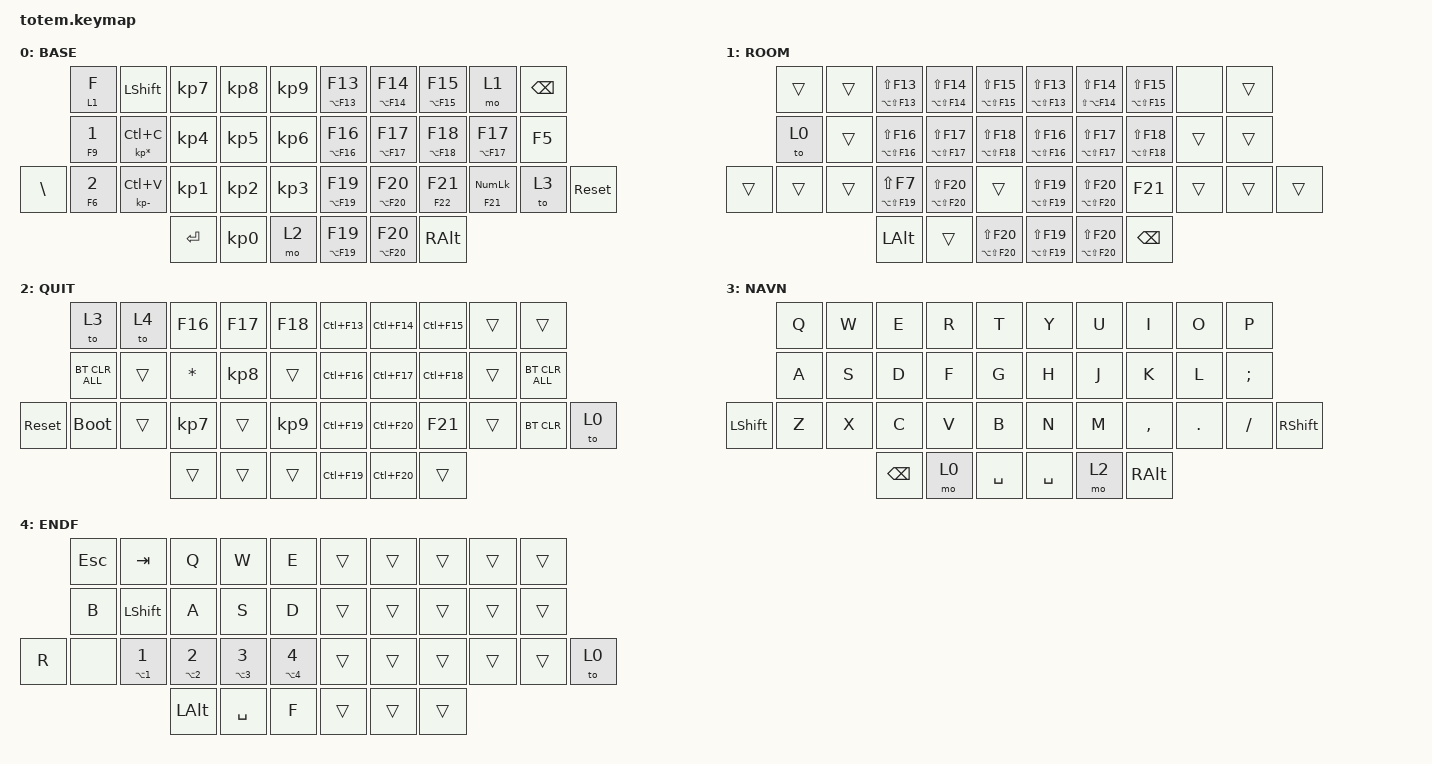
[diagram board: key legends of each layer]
/*
 * ZMK Keymap for Poker & Gaming
 * Layout: Combined Logic (Base, Room, Quit, Nav, Endfield)
 */

#include <behaviors.dtsi>
#include <dt-bindings/zmk/bt.h>
#include <dt-bindings/zmk/keys.h>

#define BASE 0
#define ROOM 1
#define QUIT 2
#define NAVN 3
#define ENDF 4

/ {
    // ==========================================
    // COMBOS (Poker Specific Shortcuts)
    // ==========================================

    combos {
        compatible = "zmk,combos";

        c_num1 {
            bindings = <&hob LA(F13) F13>;
            key-positions = <15 6>;
        };

        c_num3 {
            bindings = <&hob LA(F15) F15>;
            key-positions = <6 17>;
        };

        c_qtbet {
            bindings = <&kp KP_N7>;
            key-positions = <23 13>;
        };

        c_fullbet {
            bindings = <&kp KP_N9>;
            key-positions = <13 14>;
        };

        c_num8 {
            bindings = <&hob LA(F20) F20>;
            key-positions = <15 17>;
        };

        c_num7 {
            bindings = <&hob F21 F17>;
            key-positions = <18 15>;
        };

        c_num7mk2 {
            bindings = <&kp F21>;
            key-positions = <18 17>;
        };

        c_num5 {
            bindings = <&kp KP_N8>;
            key-positions = <23 22>;
        };

        LOH1 {
            bindings = <&hob F16 F13>;
            key-positions = <12 3>;
        };

        LOH2 {
            bindings = <&hob F18 F15>;
            key-positions = <3 14>;
        };
    };

    // ==========================================
    // BEHAVIORS (Custom Hold-Tap Actions)
    // ==========================================

    behaviors {
        hob: hob {
            compatible = "zmk,behavior-hold-tap";
            label = "HOLD_ON_BITCH";
            bindings = <&kp>, <&kp>;

            #binding-cells = <2>;
            tapping-term-ms = <300>;
            flavor = "tap-preferred";
        };

        lh: lh {
            compatible = "zmk,behavior-hold-tap";
            label = "LONG_HOLDING";
            bindings = <&kp>, <&kp>;

            #binding-cells = <2>;
            tapping-term-ms = <1000>;
            flavor = "tap-preferred";
            retro-tap;
        };

        lm: lm {
            compatible = "zmk,behavior-hold-tap";
            label = "LAYERMOVE";
            bindings = <&mo>, <&kp>;

            #binding-cells = <2>;
            tapping-term-ms = <250>;
            flavor = "tap-preferred";
        };
    };

    // ==========================================
    // KEYMAP LAYERS
    // ==========================================

    keymap {
        compatible = "zmk,keymap";

        // ------------------------------------------
        // LAYER 0: BASE (Poker Main)
        // ------------------------------------------
        //        ┏━━━━━━┳━━━━━━┳━━━━━━┳━━━━━━┳━━━━━━┓   ┏━━━━━━┳━━━━━━┳━━━━━━┳━━━━━━┳━━━━━━┓
        //        ┃F/W+D ┃ LSHFT┃ KP_7 ┃ KP_8 ┃ KP_9 ┃   ┃F13/Al┃F14/Al┃F15/Al┃moROOM┃ BSPC ┃
        //        ┣━━━━━━╋━━━━━━╋━━━━━━╋━━━━━━╋━━━━━━┫   ┣━━━━━━╋━━━━━━╋━━━━━━╋━━━━━━╋━━━━━━┫
        //        ┃1/W+D ┃C-COPY┃ KP_4 ┃ KP_5 ┃ KP_6 ┃   ┃F16/Al┃F17/Al┃F18/Al┃F17/Al┃ BT_2 ┃
        // ┏━━━━━━╋━━━━━━╋━━━━━━╋━━━━━━╋━━━━━━╋━━━━━━┫   ┣━━━━━━╋━━━━━━╋━━━━━━╋━━━━━━╋━━━━━━╋━━━━━━┓
        // ┃  \   ┃2/D+D ┃C-PAST┃ KP_1 ┃ KP_2 ┃ KP_3 ┃   ┃F19/Al┃F20/Al┃F21/22┃F21/NL┃toNAVN┃RESET ┃
        // ┗━━━━━━┻━━━━━━┻━━━━━━╋━━━━━━╋━━━━━━╋━━━━━━┫   ┣━━━━━━╋━━━━━━╋━━━━━━╋━━━━━━┻━━━━━━┻━━━━━━┛
        //                      ┃ENTER ┃0/DOT ┃moQUIT┃   ┃F19/Al┃F20/Al┃ RALT ┃
        //                      ┗━━━━━━┻━━━━━━┻━━━━━━┛   ┗━━━━━━┻━━━━━━┻━━━━━━┛

        base_layer {
            label = "BASE";
            bindings = <
          &lm 1 F    &kp LSHFT               &kp KP_N7  &kp KP_N8        &kp KP_N9    &hob LA(F13) F13  &hob LA(F14) F14  &hob LA(F15) F15  &mo 1             &kp BSPC
          &lh F9 N1  &hob KP_MULTIPLY LC(C)  &kp KP_N4  &kp KP_N5        &kp KP_N6    &hob LA(F16) F16  &hob LA(F17) F17  &hob LA(F18) F18  &hob LA(F17) F17  &kp F5
&kp BSLH  &lh F6 N2  &hob KP_MINUS LC(V)     &kp KP_N1  &kp KP_N2        &kp KP_N3    &hob LA(F19) F19  &hob LA(F20) F20  &hob F22 F21      &lh F21 KP_NLCK   &to 3     &sys_reset
                                             &kp ENTER  &kp KP_NUMBER_0  &mo 2        &hob LA(F19) F19  &hob LA(F20) F20  &kp RALT
            >;
        };

        // ------------------------------------------
        // LAYER 1: ROOM (Shift+F Keys)
        // ------------------------------------------

        room_layer {
            label = "ROOM";
            bindings = <
        &trans  &trans  &hob LA(LS(F13)) LS(F13)  &hob LA(LS(F14)) LS(F14)  &hob LA(LS(F15)) LS(F15)    &hob LA(LS(F13)) LS(F13)  &hob LS(LA(F14)) LS(F14)  &hob LA(LS(F15)) LS(F15)  &none   &trans
        &to 0   &trans  &hob LA(LS(F16)) LS(F16)  &hob LA(LS(F17)) LS(F17)  &hob LA(LS(F18)) LS(F18)    &hob LA(LS(F16)) LS(F16)  &hob LA(LS(F17)) LS(F17)  &hob LA(LS(F18)) LS(F18)  &trans  &trans
&trans  &trans  &trans  &hob LA(LS(F19)) LS(F7)   &hob LA(LS(F20)) LS(F20)  &trans                      &hob LA(LS(F19)) LS(F19)  &hob LA(LS(F20)) LS(F20)  &kp F21                   &trans  &trans  &trans
                        &kp LALT                  &trans                    &hob LA(LS(F20)) LS(F20)    &hob LA(LS(F19)) LS(F19)  &hob LA(LS(F20)) LS(F20)  &kp BSPC
            >;
        };

        // ------------------------------------------
        // LAYER 2: QUIT (System & Control)
        // ------------------------------------------

        quit_layer {
            label = "QUIT";
            bindings = <
            &to 3           &to 4   &kp F16    &kp F17    &kp F18      &kp LC(F13)  &kp LC(F14)  &kp LC(F15)  &trans  &trans
            &bt BT_CLR_ALL  &trans  &kp STAR   &kp KP_N8  &trans       &kp LC(F16)  &kp LC(F17)  &kp LC(F18)  &trans  &bt BT_CLR_ALL
&sys_reset  &bootloader     &trans  &kp KP_N7  &trans     &kp KP_N9    &kp LC(F19)  &kp LC(F20)  &kp F21      &trans  &bt BT_CLR      &to 0
                                    &trans     &trans     &trans       &kp LC(F19)  &kp LC(F20)  &trans
            >;
        };

        // ------------------------------------------
        // LAYER 3: NAVN (QWERTY Typing)
        // ------------------------------------------

        nav_num_layer {
            label = "NAVN";
            bindings = <
           &kp Q  &kp W  &kp E     &kp R  &kp T        &kp Y      &kp U  &kp I      &kp O    &kp P
           &kp A  &kp S  &kp D     &kp F  &kp G        &kp H      &kp J  &kp K      &kp L    &kp SEMI
&kp LSHFT  &kp Z  &kp X  &kp C     &kp V  &kp B        &kp N      &kp M  &kp COMMA  &kp DOT  &kp FSLH  &kp RSHFT
                         &kp BSPC  &mo 0  &kp SPACE    &kp SPACE  &mo 2  &kp RALT
            >;
        };

        // ------------------------------------------
        // LAYER 4: ENDF (Gaming Mode)
        // ------------------------------------------

        endfield_layer {
            label = "ENDF";
            bindings = <
       &kp ESC  &kp TAB         &kp Q           &kp W           &kp E             &trans  &trans  &trans  &trans  &trans
       &kp B    &kp LSHFT       &kp A           &kp S           &kp D             &trans  &trans  &trans  &trans  &trans
&kp R  &none    &hob LA(N1) N1  &hob LA(N2) N2  &hob LA(N3) N3  &hob LA(N4) N4    &trans  &trans  &trans  &trans  &trans  &to 0
                                &kp LALT        &kp SPACE       &kp F             &trans  &trans  &trans
            >;
        };
    };

    // ==========================================
    // CONDITIONAL LAYERS
    // ==========================================

    conditional_layers {
        compatible = "zmk,conditional-layers";

        device_layer {
            if-layers = <3 4>;
            then-layer = <4>;
        };
    };
};
